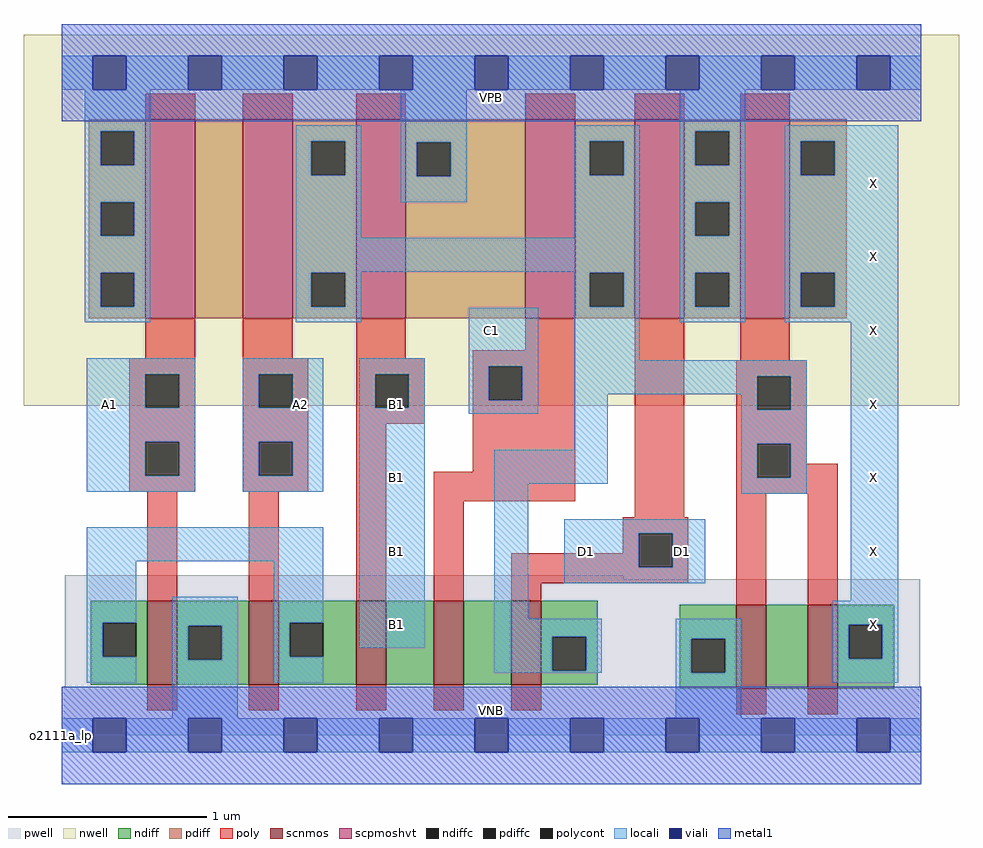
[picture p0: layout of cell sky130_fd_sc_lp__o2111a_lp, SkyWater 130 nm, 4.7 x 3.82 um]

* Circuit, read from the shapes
.subckt sky130_fd_sc_lp__o2111a_lp A1 A2 B1 C1 D1 VGND VNB VPB VPWR X
XM1 VGND A1 n1 VNB sky130_fd_pr__nfet_01v8 w=0.42 l=0.15
XM2 n1 A2 VGND VNB sky130_fd_pr__nfet_01v8 w=0.42 l=0.15
XM3 n2 B1 n1 VNB sky130_fd_pr__nfet_01v8 w=0.42 l=0.15
XM4 n3 C1 n2 VNB sky130_fd_pr__nfet_01v8 w=0.42 l=0.15
XM5 n4 D1 n3 VNB sky130_fd_pr__nfet_01v8 w=0.42 l=0.15
XM6 n5 n4 VGND VNB sky130_fd_pr__nfet_01v8 w=0.42 l=0.15
XM7 X n4 n5 VNB sky130_fd_pr__nfet_01v8 w=0.42 l=0.15
XM8 n6 A1 VPWR VPB sky130_fd_pr__pfet_01v8_hvt w=1 l=0.25
XM9 n4 A2 n6 VPB sky130_fd_pr__pfet_01v8_hvt w=1 l=0.25
XM10 VPWR B1 n4 VPB sky130_fd_pr__pfet_01v8_hvt w=1 l=0.25
XM11 n4 C1 VPWR VPB sky130_fd_pr__pfet_01v8_hvt w=1 l=0.25
XM12 VPWR D1 n4 VPB sky130_fd_pr__pfet_01v8_hvt w=1 l=0.25
XM13 X n4 VPWR VPB sky130_fd_pr__pfet_01v8_hvt w=1 l=0.25
.ends

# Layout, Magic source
magic
tech sky130A
magscale 1 2
<< nwell >>
rect -38 331 902 704
<< pwell >>
rect 3 157 565 161
rect 3 49 863 157
rect 0 0 864 49
<< scnmos >>
rect 86 51 116 135
rect 188 51 218 135
rect 296 51 326 135
rect 374 51 404 135
rect 452 51 482 135
rect 678 47 708 131
rect 750 47 780 131
<< scpmoshvt >>
rect 84 419 134 619
rect 182 419 232 619
rect 296 419 346 619
rect 466 419 516 619
rect 576 419 626 619
rect 682 419 732 619
<< ndiff >>
rect 29 113 86 135
rect 29 79 41 113
rect 75 79 86 113
rect 29 51 86 79
rect 116 110 188 135
rect 116 76 127 110
rect 161 76 188 110
rect 116 51 188 76
rect 218 113 296 135
rect 218 79 229 113
rect 263 79 296 113
rect 218 51 296 79
rect 326 51 374 135
rect 404 51 452 135
rect 482 99 539 135
rect 482 65 493 99
rect 527 65 539 99
rect 482 51 539 65
rect 621 97 678 131
rect 621 63 633 97
rect 667 63 678 97
rect 621 47 678 63
rect 708 47 750 131
rect 780 111 837 131
rect 780 77 791 111
rect 825 77 837 111
rect 780 47 837 77
<< pdiff >>
rect 27 607 84 619
rect 27 573 39 607
rect 73 573 84 607
rect 27 536 84 573
rect 27 502 39 536
rect 73 502 84 536
rect 27 465 84 502
rect 27 431 39 465
rect 73 431 84 465
rect 27 419 84 431
rect 134 419 182 619
rect 232 597 296 619
rect 232 563 251 597
rect 285 563 296 597
rect 232 465 296 563
rect 232 431 251 465
rect 285 431 296 465
rect 232 419 296 431
rect 346 596 466 619
rect 346 562 357 596
rect 391 562 466 596
rect 346 419 466 562
rect 516 597 576 619
rect 516 563 531 597
rect 565 563 576 597
rect 516 465 576 563
rect 516 431 531 465
rect 565 431 576 465
rect 516 419 576 431
rect 626 607 682 619
rect 626 573 637 607
rect 671 573 682 607
rect 626 536 682 573
rect 626 502 637 536
rect 671 502 682 536
rect 626 465 682 502
rect 626 431 637 465
rect 671 431 682 465
rect 626 419 682 431
rect 732 597 789 619
rect 732 563 743 597
rect 777 563 789 597
rect 732 465 789 563
rect 732 431 743 465
rect 777 431 789 465
rect 732 419 789 431
<< ndiffc >>
rect 41 79 75 113
rect 127 76 161 110
rect 229 79 263 113
rect 493 65 527 99
rect 633 63 667 97
rect 791 77 825 111
<< pdiffc >>
rect 39 573 73 607
rect 39 502 73 536
rect 39 431 73 465
rect 251 563 285 597
rect 251 431 285 465
rect 357 562 391 596
rect 531 563 565 597
rect 531 431 565 465
rect 637 573 671 607
rect 637 502 671 536
rect 637 431 671 465
rect 743 563 777 597
rect 743 431 777 465
<< poly >>
rect 84 619 134 645
rect 182 619 232 645
rect 296 619 346 645
rect 466 619 516 645
rect 576 619 626 645
rect 682 619 732 645
rect 84 379 134 419
rect 68 363 134 379
rect 68 329 84 363
rect 118 329 134 363
rect 68 295 134 329
rect 68 261 84 295
rect 118 261 134 295
rect 68 245 134 261
rect 182 379 232 419
rect 296 379 346 419
rect 466 387 516 419
rect 182 363 248 379
rect 182 329 198 363
rect 232 329 248 363
rect 182 295 248 329
rect 182 261 198 295
rect 232 261 248 295
rect 182 245 248 261
rect 296 363 365 379
rect 296 329 315 363
rect 349 329 365 363
rect 296 313 365 329
rect 413 371 516 387
rect 413 337 429 371
rect 463 337 516 371
rect 86 135 116 245
rect 188 135 218 245
rect 296 135 326 313
rect 413 265 516 337
rect 374 235 516 265
rect 374 135 404 235
rect 576 219 626 419
rect 682 377 732 419
rect 678 361 749 377
rect 678 327 699 361
rect 733 327 749 361
rect 678 293 749 327
rect 678 259 699 293
rect 733 273 749 293
rect 733 259 780 273
rect 678 243 780 259
rect 564 203 630 219
rect 564 183 580 203
rect 452 169 580 183
rect 614 169 630 203
rect 452 153 630 169
rect 452 135 482 153
rect 678 131 708 243
rect 750 131 780 243
rect 86 25 116 51
rect 188 25 218 51
rect 296 25 326 51
rect 374 25 404 51
rect 452 25 482 51
rect 678 21 708 47
rect 750 21 780 47
<< polycont >>
rect 84 329 118 363
rect 84 261 118 295
rect 198 329 232 363
rect 198 261 232 295
rect 315 329 349 363
rect 429 337 463 371
rect 699 327 733 361
rect 699 259 733 293
rect 580 169 614 203
<< locali >>
rect 0 649 31 683
rect 65 649 127 683
rect 161 649 223 683
rect 257 649 319 683
rect 353 649 415 683
rect 449 649 511 683
rect 545 649 607 683
rect 641 649 703 683
rect 737 649 799 683
rect 833 649 864 683
rect 23 607 89 649
rect 23 573 39 607
rect 73 573 89 607
rect 23 536 89 573
rect 23 502 39 536
rect 73 502 89 536
rect 23 465 89 502
rect 23 431 39 465
rect 73 431 89 465
rect 23 415 89 431
rect 235 597 301 613
rect 235 563 251 597
rect 285 563 301 597
rect 235 500 301 563
rect 341 596 407 649
rect 341 562 357 596
rect 391 562 407 596
rect 341 536 407 562
rect 515 597 581 613
rect 515 563 531 597
rect 565 563 581 597
rect 515 500 581 563
rect 235 466 581 500
rect 235 465 301 466
rect 235 431 251 465
rect 285 431 301 465
rect 235 415 301 431
rect 515 465 581 466
rect 515 431 531 465
rect 565 431 581 465
rect 25 363 134 379
rect 25 329 84 363
rect 118 329 134 363
rect 25 295 134 329
rect 25 261 84 295
rect 118 261 134 295
rect 25 245 134 261
rect 182 363 263 379
rect 182 329 198 363
rect 232 329 263 363
rect 182 295 263 329
rect 182 261 198 295
rect 232 261 263 295
rect 182 245 263 261
rect 299 363 365 379
rect 299 329 315 363
rect 349 329 365 363
rect 25 175 263 209
rect 25 113 75 175
rect 25 79 41 113
rect 25 53 75 79
rect 111 110 177 139
rect 111 76 127 110
rect 161 76 177 110
rect 111 17 177 76
rect 213 113 263 175
rect 213 79 229 113
rect 299 88 365 329
rect 409 371 479 430
rect 409 337 429 371
rect 463 337 479 371
rect 409 323 479 337
rect 515 377 581 431
rect 621 607 687 649
rect 621 573 637 607
rect 671 573 687 607
rect 621 536 687 573
rect 621 502 637 536
rect 671 502 687 536
rect 621 465 687 502
rect 621 431 637 465
rect 671 431 687 465
rect 621 415 687 431
rect 727 597 841 613
rect 727 563 743 597
rect 777 563 841 597
rect 727 465 841 563
rect 727 431 743 465
rect 777 431 841 465
rect 727 415 841 431
rect 515 361 749 377
rect 515 343 699 361
rect 515 287 549 343
rect 435 253 549 287
rect 683 327 699 343
rect 733 327 749 361
rect 683 293 749 327
rect 683 259 699 293
rect 733 259 749 293
rect 435 117 469 253
rect 683 243 749 259
rect 505 203 647 217
rect 505 169 580 203
rect 614 169 647 203
rect 505 153 647 169
rect 793 135 841 415
rect 435 99 543 117
rect 213 53 263 79
rect 435 65 493 99
rect 527 65 543 99
rect 435 63 543 65
rect 617 97 683 117
rect 617 63 633 97
rect 667 63 683 97
rect 617 17 683 63
rect 775 111 841 135
rect 775 77 791 111
rect 825 77 841 111
rect 775 53 841 77
rect 0 -17 31 17
rect 65 -17 127 17
rect 161 -17 223 17
rect 257 -17 319 17
rect 353 -17 415 17
rect 449 -17 511 17
rect 545 -17 607 17
rect 641 -17 703 17
rect 737 -17 799 17
rect 833 -17 864 17
<< viali >>
rect 31 649 65 683
rect 127 649 161 683
rect 223 649 257 683
rect 319 649 353 683
rect 415 649 449 683
rect 511 649 545 683
rect 607 649 641 683
rect 703 649 737 683
rect 799 649 833 683
rect 31 -17 65 17
rect 127 -17 161 17
rect 223 -17 257 17
rect 319 -17 353 17
rect 415 -17 449 17
rect 511 -17 545 17
rect 607 -17 641 17
rect 703 -17 737 17
rect 799 -17 833 17
<< metal1 >>
rect 0 683 864 715
rect 0 649 31 683
rect 65 649 127 683
rect 161 649 223 683
rect 257 649 319 683
rect 353 649 415 683
rect 449 649 511 683
rect 545 649 607 683
rect 641 649 703 683
rect 737 649 799 683
rect 833 649 864 683
rect 0 617 864 649
rect 0 17 864 49
rect 0 -17 31 17
rect 65 -17 127 17
rect 161 -17 223 17
rect 257 -17 319 17
rect 353 -17 415 17
rect 449 -17 511 17
rect 545 -17 607 17
rect 641 -17 703 17
rect 737 -17 799 17
rect 833 -17 864 17
rect 0 -49 864 -17
<< labels >>
flabel pwell s 0 0 864 49 0 FreeSans 200 0 0 0 VNB
port 7 nsew ground bidirectional
flabel nwell s 0 617 864 666 0 FreeSans 200 0 0 0 VPB
port 8 nsew power bidirectional
rlabel comment s 0 0 0 0 4 o2111a_lp
flabel metal1 s 0 617 864 666 0 FreeSans 340 0 0 0 VPWR
port 9 nsew power bidirectional
flabel metal1 s 0 0 864 49 0 FreeSans 340 0 0 0 VGND
port 6 nsew ground bidirectional
flabel locali s 415 390 449 424 0 FreeSans 340 0 0 0 C1
port 4 nsew signal input
flabel locali s 31 316 65 350 0 FreeSans 340 0 0 0 A1
port 1 nsew signal input
flabel locali s 223 316 257 350 0 FreeSans 340 0 0 0 A2
port 2 nsew signal input
flabel locali s 511 168 545 202 0 FreeSans 340 0 0 0 D1
port 5 nsew signal input
flabel locali s 607 168 641 202 0 FreeSans 340 0 0 0 D1
port 5 nsew signal input
flabel locali s 799 94 833 128 0 FreeSans 340 0 0 0 X
port 10 nsew signal output
flabel locali s 799 168 833 202 0 FreeSans 340 0 0 0 X
port 10 nsew signal output
flabel locali s 799 242 833 276 0 FreeSans 340 0 0 0 X
port 10 nsew signal output
flabel locali s 799 316 833 350 0 FreeSans 340 0 0 0 X
port 10 nsew signal output
flabel locali s 799 390 833 424 0 FreeSans 340 0 0 0 X
port 10 nsew signal output
flabel locali s 799 464 833 498 0 FreeSans 340 0 0 0 X
port 10 nsew signal output
flabel locali s 799 538 833 572 0 FreeSans 340 0 0 0 X
port 10 nsew signal output
flabel locali s 319 94 353 128 0 FreeSans 340 0 0 0 B1
port 3 nsew signal input
flabel locali s 319 168 353 202 0 FreeSans 340 0 0 0 B1
port 3 nsew signal input
flabel locali s 319 242 353 276 0 FreeSans 340 0 0 0 B1
port 3 nsew signal input
flabel locali s 319 316 353 350 0 FreeSans 340 0 0 0 B1
port 3 nsew signal input
<< properties >>
string LEFsite unit
string LEFclass CORE
string FIXED_BBOX 0 0 864 666
string GDS_FILE $PDKPATH/libs.ref/sky130_fd_sc_lp/gds/sky130_fd_sc_lp.gds
string LEFsymmetry X Y R90
string GDS_END 4240668
string GDS_START 4232268
<< end >>
